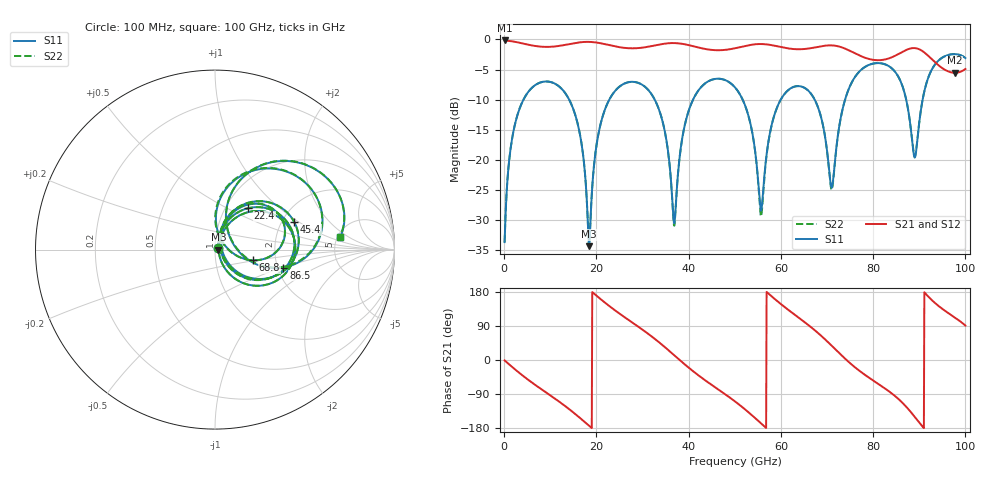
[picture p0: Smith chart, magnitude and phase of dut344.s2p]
! Touchstone file exported from HFSS 2026.1.0
!  File:  C:/ffzhzh/LocalFiles/Ansys_Project_Files/temp_train_TSV_RDL_344_1783707094_44652.aedt
!  Generated:  02:19:32 AM Jul 11, 2026
!  Design:  TSV_RDL
!  Project:  temp_train_TSV_RDL_344_1783707094_44652
! Variables:
!  h_bsmrdl = 3.67um
!  h_ox = 20um
!  h_rdl = 5um
!  h_sub = 79.32um
!  h_tmrdl = 2.78um
!  h_tsv = 79.32um
!  h_via = 3um
!  l_bsmrdl = 265.98um
!  l_sub = 2918.51um
!  l_tmrdl = 406.51um
!  m_sub = 200um
!  pitch = 42.74um
!  r_tsv = 12.42um
!  s_tmrdl = 10um
!  w_bsmrdl = 10.86um
!  w_sub = 500um
!  w_tmrdl = 20.65um
!  x_tsv_center1 = 416.835um
!  x_tsv_center2 = 693.675um
!  x_tsv_center3 = 1120.835um
!  x_tsv_center4 = 1397.675um
!  x_tsv_center5 = 1824.835um
!  x_tsv_center6 = 2101.675um
# GHz S MA R 50.000000
! Terminal data exported
! Port[1] = TM_RDL1_1_T1
! Port[2] = TM_RDL5_1_T1
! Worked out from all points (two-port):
!   1000 points, 100 MHz to 100 GHz, reference 50 ohm
!   highest |S21| = -0.16 dB at 100 MHz (marker M1); lowest = -5.5 dB at 97.7 GHz (marker M2)
!   |S21| within 3 dB of the highest: start of sweep to 78.74 GHz; 83.33 GHz to 92.56 GHz (9.231 GHz wide, 10.5 % of centre)
!   lowest |S11| = -34.4 dB at 18.4 GHz (marker M3), VSWR 1.04, Z = 52 - j0.0479 ohm
!   |S11| at or under -10 dB: 14.1 GHz to 22.8 GHz (8.697 GHz wide, 47.1 % of centre); 32.65 GHz to 40.95 GHz (8.307 GHz wide, 22.6 % of centre); 51.71 GHz to 59.96 GHz (8.252 GHz wide, 14.8 % of centre) (the widest 3 of 6)
!   |S22| runs from -34.4 to -2.4 dB; largest |S21 - S12| = 2.1e-14
!   S11 on the Smith chart (normalised r, x): 100 MHz: 1.04, +0.02; 22.4 GHz: 1.27, +0.64; 45.4 GHz: 2.33, +0.92; 68.8 GHz: 1.52, -0.19; 86.5 GHz: 2.15, -0.51; 100 GHz: 5.29, +1.41
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0.1  0.0207 27.0  0.9817 -1.1  0.9817 -1.1  0.0207 27.0
! Gamma 0 0 0 0
! Port Impedance 50 0 50 0
2  0.1713 61.0  0.9618 -21.1  0.9618 -21.1  0.1713 61.0
5.8  0.3891 29.1  0.8959 -57.5  0.8959 -57.5  0.3891 29.1
16.8  0.1347 -61.1  0.9506 -156.6  0.9506 -156.6  0.1347 -61.1
18.4  0.01915 -1.4  0.9552 -173.4  0.9552 -173.4  0.01915 -1.3
22.4  0.2945 51.4  0.905 146.1  0.905 146.1  0.2946 51.4
33.4  0.2723 -38.0  0.9043 48.6  0.9043 48.6  0.2724 -38.3
36.9  0.02964 15.8  0.9338 12.3  0.9338 12.3  0.02834 15.7
39.8  0.2413 64.4  0.9017 -18.1  0.9017 -18.1  0.241 64.6
45.4  0.4674 19.3  0.8168 -69.2  0.8168 -69.2  0.4673 19.3
50.1  0.3978 -17.8  0.8464 -109.7  0.8464 -109.7  0.3977 -18.0
55.7  0.0377 12.7  0.9168 -167.3  0.9168 -167.3  0.03383 12.7
59.5  0.2918 56.5  0.8735 152.5  0.8735 152.5  0.2913 57.3
66.7  0.3468 -1.3  0.8495 85.0  0.8495 85.0  0.3467 -1.0
68.8  0.2194 -15.8  0.8793 63.2  0.8793 63.2  0.2191 -15.8
71  0.05862 34.2  0.8934 37.9  0.8934 37.9  0.05623 34.2
75.2  0.4275 71.5  0.7969 -10.5  0.7969 -10.5  0.4269 72.3
83.4  0.6004 9.5  0.6964 -82.4  0.6964 -82.4  0.6004 10.1
86.5  0.3943 -14.7  0.7944 -114.7  0.7944 -114.7  0.3948 -14.0
89.1  0.1053 34.0  0.8476 -151.4  0.8476 -151.4  0.1076 34.2
97.7  0.7558 21.7  0.5288 112.2  0.5288 112.2  0.7557 22.0
100  0.7005 5.5  0.5684 90.8  0.5684 90.8  0.7004 5.9
